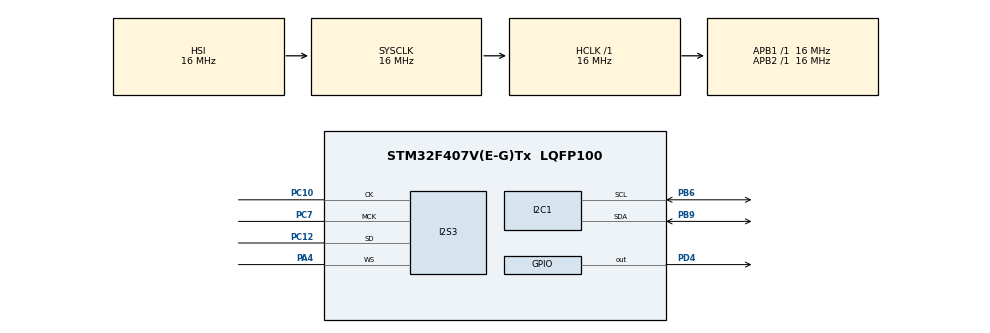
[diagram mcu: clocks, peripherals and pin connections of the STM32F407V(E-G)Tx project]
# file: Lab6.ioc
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Dma.Request0=SPI3_TX
Dma.SPI3_TX.0.Direction=DMA_MEMORY_TO_PERIPH
Dma.SPI3_TX.0.FIFOMode=DMA_FIFOMODE_ENABLE
Dma.SPI3_TX.0.FIFOThreshold=DMA_FIFO_THRESHOLD_FULL
Dma.SPI3_TX.0.Instance=DMA1_Stream5
Dma.SPI3_TX.0.MemBurst=DMA_MBURST_SINGLE
Dma.SPI3_TX.0.MemDataAlignment=DMA_MDATAALIGN_HALFWORD
Dma.SPI3_TX.0.MemInc=DMA_MINC_ENABLE
Dma.SPI3_TX.0.Mode=DMA_CIRCULAR
Dma.SPI3_TX.0.PeriphBurst=DMA_PBURST_SINGLE
Dma.SPI3_TX.0.PeriphDataAlignment=DMA_PDATAALIGN_HALFWORD
Dma.SPI3_TX.0.PeriphInc=DMA_PINC_DISABLE
Dma.SPI3_TX.0.Priority=DMA_PRIORITY_LOW
I2S3.AudioFreq=I2S_AUDIOFREQ_48K
I2S3.ErrorAudioFreq=-2.34 %
I2S3.FullDuplexMode=I2S_FULLDUPLEXMODE_DISABLE
I2S3.Instance=SPI$Index
I2S3.RealAudioFreq=46.875 KHz
I2S3.VirtualMode=I2S_MODE_MASTER
Mcu.Family=STM32F4
Mcu.Name=STM32F407V(E-G)Tx
Mcu.Package=LQFP100
NVIC.DMA1_Stream5_IRQn=true\:0\:0\:false\:false\:true\:false\:true\:true
NVIC.PriorityGroup=NVIC_PRIORITYGROUP_4
PA4.Mode=Half_Duplex_Master
PA4.Signal=I2S3_WS
PB6.Mode=I2C
PB6.Signal=I2C1_SCL
PB9.Mode=I2C
PB9.Signal=I2C1_SDA
PC10.Mode=Half_Duplex_Master
PC10.Signal=I2S3_CK
PC12.Mode=Half_Duplex_Master
PC12.Signal=I2S3_SD
PC7.Mode=Master_Clock_Activated
PC7.Signal=I2S3_MCK
PD4.Signal=GPIO_Output
ProjectManager.HeapSize=0x200
ProjectManager.StackSize=0x400
ProjectManager.TargetToolchain=STM32CubeIDE
RCC.AHBFreq_Value=16000000
RCC.APB1Freq_Value=16000000
RCC.APB2Freq_Value=16000000
RCC.CortexFreq_Value=16000000
RCC.HSE_VALUE=25000000
RCC.HSI_VALUE=16000000
RCC.LSE_VALUE=32768
RCC.SYSCLKFreq_VALUE=16000000
RCC.VCOOutputFreq_Value=192000000
board=custom

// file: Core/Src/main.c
/* USER CODE BEGIN Header */
/**
  ******************************************************************************
  * @file           : main.c
  * @brief          : Main program body
  ******************************************************************************
  * @attention
  *
  * Copyright (c) 2024 STMicroelectronics.
  * All rights reserved.
  *
  * This software is licensed under terms that can be found in the LICENSE file
  * in the root directory of this software component.
  * If no LICENSE file comes with this software, it is provided AS-IS.
  *
  ******************************************************************************
  */
/* USER CODE END Header */
#include "main.h"

/* USER CODE BEGIN PTD */

typedef enum
{
	C4,
	C5,
	D5,
	E5,
	F5,
	G5,
	A5,
	B5,
	C6,
	D6,
	E6,
	F6,
	G6,
	A6,
	B6,
	MAX_VALUE
} soundToneType;

/* USER CODE END PTD */

/* USER CODE BEGIN PD */

#define CS43L22_I2C_ADDRESS		0x94
#define I2C_TIMEOUT				10

/* USER CODE END PD */

I2C_HandleTypeDef hi2c1;

I2S_HandleTypeDef hi2s3;
DMA_HandleTypeDef hdma_spi3_tx;

/* USER CODE BEGIN PV */

int16_t dataI2S[100] = {0};
const uint32_t full_note_duration = 214;
const uint32_t half_note_duration = full_note_duration >> 1;
const uint32_t quarter_note_duration = full_note_duration >> 2;

/* USER CODE END PV */

void SystemClock_Config(void);
static void MX_GPIO_Init(void);
static void MX_DMA_Init(void);
static void MX_I2C1_Init(void);
static void MX_I2S3_Init(void);

/* USER CODE BEGIN 0 */

void CS43L22_Init(void)
{
	// Enable chip
	HAL_GPIO_WritePin(GPIOD, GPIO_PIN_4, GPIO_PIN_SET);

	//
	// Initialization
	//
	uint8_t TxBuffer[2];

	TxBuffer[0] = 0x0D;
	TxBuffer[1] = 0x01;
	HAL_I2C_Master_Transmit(&hi2c1, CS43L22_I2C_ADDRESS, (uint8_t*) &TxBuffer, 2, I2C_TIMEOUT);

	TxBuffer[0] = 0x00;
	TxBuffer[1] = 0x99;
	HAL_I2C_Master_Transmit(&hi2c1, CS43L22_I2C_ADDRESS, (uint8_t*) &TxBuffer, 2, I2C_TIMEOUT);

	TxBuffer[0] = 0x47;
	TxBuffer[1] = 0x80;
	HAL_I2C_Master_Transmit(&hi2c1, CS43L22_I2C_ADDRESS, (uint8_t*) &TxBuffer, 2, I2C_TIMEOUT);

	TxBuffer[0] = 0x32;
	TxBuffer[1] = 0xFF;
	HAL_I2C_Master_Transmit(&hi2c1, CS43L22_I2C_ADDRESS, (uint8_t*) &TxBuffer, 2, I2C_TIMEOUT);

	TxBuffer[0] = 0x32;
	TxBuffer[1] = 0x7F;
	HAL_I2C_Master_Transmit(&hi2c1, CS43L22_I2C_ADDRESS, (uint8_t*) &TxBuffer, 2, I2C_TIMEOUT);

	TxBuffer[0] = 0x00;
	TxBuffer[1] = 0x00;
	HAL_I2C_Master_Transmit(&hi2c1, CS43L22_I2C_ADDRESS, (uint8_t*) &TxBuffer, 2, I2C_TIMEOUT);

	TxBuffer[0] = 0x04;
	TxBuffer[1] = 0xAF;
	HAL_I2C_Master_Transmit(&hi2c1, CS43L22_I2C_ADDRESS, (uint8_t*) &TxBuffer, 2, I2C_TIMEOUT);

	TxBuffer[0] = 0x0D;
	TxBuffer[1] = 0x70;
	HAL_I2C_Master_Transmit(&hi2c1, CS43L22_I2C_ADDRESS, (uint8_t*) &TxBuffer, 2, I2C_TIMEOUT);

	TxBuffer[0] = 0x05;
	TxBuffer[1] = 0x81;
	HAL_I2C_Master_Transmit(&hi2c1, CS43L22_I2C_ADDRESS, (uint8_t*) &TxBuffer, 2, I2C_TIMEOUT);

	TxBuffer[0] = 0x06;
	TxBuffer[1] = 0x07;
	HAL_I2C_Master_Transmit(&hi2c1, CS43L22_I2C_ADDRESS, (uint8_t*) &TxBuffer, 2, I2C_TIMEOUT);

	TxBuffer[0] = 0x0A;
	TxBuffer[1] = 0x00;
	HAL_I2C_Master_Transmit(&hi2c1, CS43L22_I2C_ADDRESS, (uint8_t*) &TxBuffer, 2, I2C_TIMEOUT);

	TxBuffer[0] = 0x27;
	TxBuffer[1] = 0x00;
	HAL_I2C_Master_Transmit(&hi2c1, CS43L22_I2C_ADDRESS, (uint8_t*) &TxBuffer, 2, I2C_TIMEOUT);

	TxBuffer[0] = 0x1A;
	TxBuffer[1] = 0x0A;
	HAL_I2C_Master_Transmit(&hi2c1, CS43L22_I2C_ADDRESS, (uint8_t*) &TxBuffer, 2, I2C_TIMEOUT);

	TxBuffer[0] = 0x1B;
	TxBuffer[1] = 0x0A;
	HAL_I2C_Master_Transmit(&hi2c1, CS43L22_I2C_ADDRESS, (uint8_t*) &TxBuffer, 2, I2C_TIMEOUT);

	TxBuffer[0] = 0x1F;
	TxBuffer[1] = 0x0F;
	HAL_I2C_Master_Transmit(&hi2c1, CS43L22_I2C_ADDRESS, (uint8_t*) &TxBuffer, 2, I2C_TIMEOUT);

	TxBuffer[0] = 0x02;
	TxBuffer[1] = 0x9E;
	HAL_I2C_Master_Transmit(&hi2c1, CS43L22_I2C_ADDRESS, (uint8_t*) &TxBuffer, 2, I2C_TIMEOUT);
}

void CS43L22_Beep(soundToneType pitch, uint32_t duration_ms)
{
	uint8_t TxBuffer[2];

	// Set volume and off time
	TxBuffer[0] = 0x1D;		// Register address
	TxBuffer[1] = 0x00;		// Value (volume and off time)
	HAL_I2C_Master_Transmit(&hi2c1, CS43L22_I2C_ADDRESS, (uint8_t*) &TxBuffer, 2, I2C_TIMEOUT);

	// Set sound frequency
	TxBuffer[0] = 0x1C;		// Register address
	/*
	switch (pitch)
	{
		case C4:
			TxBuffer[1] = 0x00;		// Value (frequency and on time)
			break;
		// Assume C4 for all other cases
		case MAX_VALUE:
		default:
			TxBuffer[1] = 0x00;		// Value (frequency and on time)
			break;
	}
	*/
	TxBuffer[1] = (pitch << 4);
	HAL_I2C_Master_Transmit(&hi2c1, CS43L22_I2C_ADDRESS, (uint8_t*) &TxBuffer, 2, I2C_TIMEOUT);

	// Enable continuous mode (SOUND STARTED)
	TxBuffer[0] = 0x1E;		// Register address
	TxBuffer[1] = 0xC0;		// Value (beep and tone configuration)
	HAL_I2C_Master_Transmit(&hi2c1, CS43L22_I2C_ADDRESS, (uint8_t*) &TxBuffer, 2, I2C_TIMEOUT);

	// Playing...
	HAL_Delay(duration_ms);

	// Disable continuous mode (SOUND STOPED)
	TxBuffer[0] = 0x1E;		// Register address
	TxBuffer[1] = 0x00;		// Value (beep and tone configuration)
	HAL_I2C_Master_Transmit(&hi2c1, CS43L22_I2C_ADDRESS, (uint8_t*) &TxBuffer, 2, I2C_TIMEOUT);
}

/* USER CODE END 0 */

int main(void)
{

  /* MCU Configuration--------------------------------------------------------*/

  /* Reset of all peripherals, Initializes the Flash interface and the Systick. */
  HAL_Init();

  /* Configure the system clock */
  SystemClock_Config();

  /* Initialize all configured peripherals */
  MX_GPIO_Init();
  MX_DMA_Init();
  MX_I2C1_Init();
  MX_I2S3_Init();
  /* USER CODE BEGIN 2 */

  CS43L22_Init();

  HAL_I2S_Transmit_DMA(&hi2s3, (uint16_t *)dataI2S, 100);

  /* USER CODE END 2 */

  /* Infinite loop */
  while (1)
  {

    CS43L22_Beep(C5, quarter_note_duration);
    HAL_Delay(quarter_note_duration);
    CS43L22_Beep(D5, quarter_note_duration);
    HAL_Delay(quarter_note_duration);
    CS43L22_Beep(E5, quarter_note_duration);
    HAL_Delay(quarter_note_duration);
    CS43L22_Beep(C5, quarter_note_duration);
    HAL_Delay(quarter_note_duration);

    CS43L22_Beep(C5, quarter_note_duration);
    HAL_Delay(quarter_note_duration);
    CS43L22_Beep(D5, quarter_note_duration);
    HAL_Delay(quarter_note_duration);
    CS43L22_Beep(E5, quarter_note_duration);
    HAL_Delay(quarter_note_duration);
    CS43L22_Beep(C5, quarter_note_duration);
    HAL_Delay(quarter_note_duration);

    CS43L22_Beep(E5, quarter_note_duration);
    HAL_Delay(quarter_note_duration);
    CS43L22_Beep(F5, quarter_note_duration);
    HAL_Delay(quarter_note_duration);
    CS43L22_Beep(G5, half_note_duration);
    HAL_Delay(half_note_duration);
    CS43L22_Beep(E5, quarter_note_duration);
    HAL_Delay(quarter_note_duration);

    CS43L22_Beep(F5, quarter_note_duration);
    HAL_Delay(quarter_note_duration);
    CS43L22_Beep(G5, quarter_note_duration);
    HAL_Delay(quarter_note_duration);
    CS43L22_Beep(A5, half_note_duration);
    HAL_Delay(half_note_duration);
    CS43L22_Beep(G5, quarter_note_duration);
    HAL_Delay(quarter_note_duration);

    CS43L22_Beep(F5, quarter_note_duration);
    HAL_Delay(quarter_note_duration);
    CS43L22_Beep(A5, quarter_note_duration);
    HAL_Delay(quarter_note_duration);
    CS43L22_Beep(F5, quarter_note_duration);
    HAL_Delay(quarter_note_duration);
    CS43L22_Beep(D5, quarter_note_duration);
    HAL_Delay(quarter_note_duration);

    CS43L22_Beep(F5, quarter_note_duration);
    HAL_Delay(quarter_note_duration);
    CS43L22_Beep(A5, quarter_note_duration);
    HAL_Delay(quarter_note_duration);
    CS43L22_Beep(F5, quarter_note_duration);
    HAL_Delay(quarter_note_duration);
    CS43L22_Beep(D5, quarter_note_duration);
    HAL_Delay(quarter_note_duration);

  }
}

void SystemClock_Config(void)
{
  RCC_OscInitTypeDef RCC_OscInitStruct = {0};
  RCC_ClkInitTypeDef RCC_ClkInitStruct = {0};

  /** Macro to configure the PLL multiplication factor
  */
  __HAL_RCC_PLL_PLLM_CONFIG(16);

  /** Macro to configure the PLL clock source
  */
  __HAL_RCC_PLL_PLLSOURCE_CONFIG(RCC_PLLSOURCE_HSI);

  /** Configure the main internal regulator output voltage
  */
  __HAL_RCC_PWR_CLK_ENABLE();
  __HAL_PWR_VOLTAGESCALING_CONFIG(PWR_REGULATOR_VOLTAGE_SCALE1);

  /** Initializes the RCC Oscillators according to the specified parameters
  * in the RCC_OscInitTypeDef structure.
  */
  RCC_OscInitStruct.OscillatorType = RCC_OSCILLATORTYPE_HSI;
  RCC_OscInitStruct.HSIState = RCC_HSI_ON;
  RCC_OscInitStruct.HSICalibrationValue = RCC_HSICALIBRATION_DEFAULT;
  RCC_OscInitStruct.PLL.PLLState = RCC_PLL_NONE;
  RCC_OscInitStruct.PLL.PLLSource = RCC_PLLSOURCE_HSI;
  if (HAL_RCC_OscConfig(&RCC_OscInitStruct) != HAL_OK)
  {
    Error_Handler();
  }

  /** Initializes the CPU, AHB and APB buses clocks
  */
  RCC_ClkInitStruct.ClockType = RCC_CLOCKTYPE_HCLK|RCC_CLOCKTYPE_SYSCLK
                              |RCC_CLOCKTYPE_PCLK1|RCC_CLOCKTYPE_PCLK2;
  RCC_ClkInitStruct.SYSCLKSource = RCC_SYSCLKSOURCE_HSI;
  RCC_ClkInitStruct.AHBCLKDivider = RCC_SYSCLK_DIV1;
  RCC_ClkInitStruct.APB1CLKDivider = RCC_HCLK_DIV1;
  RCC_ClkInitStruct.APB2CLKDivider = RCC_HCLK_DIV1;

  if (HAL_RCC_ClockConfig(&RCC_ClkInitStruct, FLASH_LATENCY_0) != HAL_OK)
  {
    Error_Handler();
  }
}

static void MX_I2C1_Init(void)
{

  hi2c1.Instance = I2C1;
  hi2c1.Init.ClockSpeed = 100000;
  hi2c1.Init.DutyCycle = I2C_DUTYCYCLE_2;
  hi2c1.Init.OwnAddress1 = 0;
  hi2c1.Init.AddressingMode = I2C_ADDRESSINGMODE_7BIT;
  hi2c1.Init.DualAddressMode = I2C_DUALADDRESS_DISABLE;
  hi2c1.Init.OwnAddress2 = 0;
  hi2c1.Init.GeneralCallMode = I2C_GENERALCALL_DISABLE;
  hi2c1.Init.NoStretchMode = I2C_NOSTRETCH_DISABLE;
  if (HAL_I2C_Init(&hi2c1) != HAL_OK)
  {
    Error_Handler();
  }

}

static void MX_I2S3_Init(void)
{

  hi2s3.Instance = SPI3;
  hi2s3.Init.Mode = I2S_MODE_MASTER_TX;
  hi2s3.Init.Standard = I2S_STANDARD_PHILIPS;
  hi2s3.Init.DataFormat = I2S_DATAFORMAT_16B;
  hi2s3.Init.MCLKOutput = I2S_MCLKOUTPUT_ENABLE;
  hi2s3.Init.AudioFreq = I2S_AUDIOFREQ_48K;
  hi2s3.Init.CPOL = I2S_CPOL_LOW;
  hi2s3.Init.ClockSource = I2S_CLOCK_PLL;
  hi2s3.Init.FullDuplexMode = I2S_FULLDUPLEXMODE_DISABLE;
  if (HAL_I2S_Init(&hi2s3) != HAL_OK)
  {
    Error_Handler();
  }

}

static void MX_DMA_Init(void)
{

  /* DMA controller clock enable */
  __HAL_RCC_DMA1_CLK_ENABLE();

  /* DMA interrupt init */
  /* DMA1_Stream5_IRQn interrupt configuration */
  HAL_NVIC_SetPriority(DMA1_Stream5_IRQn, 0, 0);
  HAL_NVIC_EnableIRQ(DMA1_Stream5_IRQn);

}

static void MX_GPIO_Init(void)
{
  GPIO_InitTypeDef GPIO_InitStruct = {0};

  /* GPIO Ports Clock Enable */
  __HAL_RCC_GPIOA_CLK_ENABLE();
  __HAL_RCC_GPIOC_CLK_ENABLE();
  __HAL_RCC_GPIOD_CLK_ENABLE();
  __HAL_RCC_GPIOB_CLK_ENABLE();

  /*Configure GPIO pin Output Level */
  HAL_GPIO_WritePin(GPIOD, GPIO_PIN_4, GPIO_PIN_RESET);

  /*Configure GPIO pin : PD4 */
  GPIO_InitStruct.Pin = GPIO_PIN_4;
  GPIO_InitStruct.Mode = GPIO_MODE_OUTPUT_PP;
  GPIO_InitStruct.Pull = GPIO_NOPULL;
  GPIO_InitStruct.Speed = GPIO_SPEED_FREQ_LOW;
  HAL_GPIO_Init(GPIOD, &GPIO_InitStruct);

}

void Error_Handler(void)
{
  __disable_irq();
  while (1)
  {
  }
}
